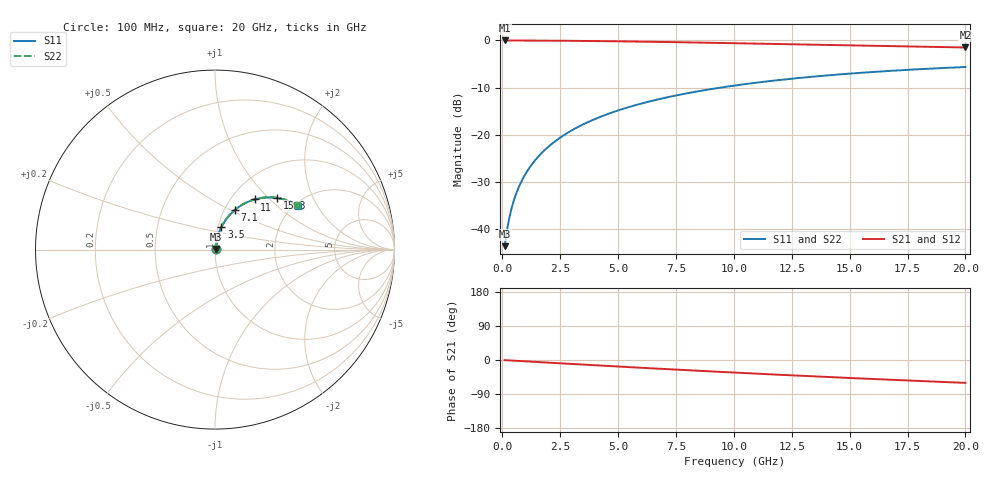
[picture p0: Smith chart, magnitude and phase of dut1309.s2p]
! Touchstone file exported from HFSS 2026.1.0
!  File:  C:/ffzhzh/LocalFiles/Ansys_Project_Files/temp_train_BSMRDL_1309_1783178328_55132.aedt
!  Generated:  11:20:13 PM Jul  4, 2026
!  Design:  BSMRDL
!  Project:  temp_train_BSMRDL_1309_1783178328_55132
! Variables:
!  h_bsmrdl = 3.71um
!  h_ox = 20um
!  h_rdl = 5um
!  h_sub = 80um
!  h_tmrdl = 5um
!  h_tsv = 80um
!  h_via = 3um
!  l_bsmrdl = 944.3um
!  l_sub = 1344.3um
!  l_tmrdl = 200um
!  m_sub = 200um
!  pitch = 44.56um
!  r_tsv = 6um
!  s_tmrdl = 10um
!  w_bsmrdl = 17.45um
!  w_sub = 500um
!  w_tmrdl = 12um
!  x_tsv_center1 = 206um
!  x_tsv_center2 = 1167.75um
!  x_tsv_center3 = 1379.75um
!  x_tsv_center4 = 2341.5um
!  x_tsv_center5 = 2553.5um
!  x_tsv_center6 = 3515.25um
# GHz S MA R 50.000000
! Terminal data exported
! Port[1] = BSM_RDL1_1_T1
! Port[2] = BSM_RDL1_1_T2
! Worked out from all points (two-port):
!   200 points, 100 MHz to 20 GHz, reference 50 ohm
!   highest |S21| = -0.05 dB at 100 MHz (marker M1); lowest = -1.5 dB at 20 GHz (marker M2)
!   |S21| within 3 dB of the highest: start of sweep to end of sweep
!   lowest |S11| = -43.6 dB at 100 MHz (marker M3), VSWR 1.01, Z = 50.5 + j0.406 ohm
!   |S11| at or under -10 dB: start of sweep to 9.449 GHz
!   |S22| runs from -43.6 to -5.7 dB; largest |S21 - S12| = 3.2e-15
!   S11 on the Smith chart (normalised r, x): 100 MHz: 1.01, +0.01; 3.5 GHz: 1.04, +0.26; 7.1 GHz: 1.12, +0.53; 11 GHz: 1.28, +0.82; 15.3 GHz: 1.56, +1.12; 20 GHz: 2.08, +1.39
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0.1  0.006639 37.3  0.9947 -0.4  0.9947 -0.4  0.006638 37.3
! Gamma 0 0 0 0
! Port Impedance 50 0 50 0
0.2  0.009687 55.1  0.9945 -0.7  0.9945 -0.7  0.009687 55.1
0.3  0.01315 63.5  0.9943 -1.1  0.9943 -1.1  0.01315 63.5
0.4  0.0167 68.1  0.994 -1.4  0.994 -1.4  0.0167 68.1
0.5  0.02029 71.0  0.9938 -1.8  0.9938 -1.8  0.02029 71.1
0.6  0.02389 73.0  0.9936 -2.1  0.9936 -2.1  0.02389 73.1
0.8  0.03115 75.5  0.9932 -2.8  0.9932 -2.8  0.03115 75.5
1.1  0.04212 77.3  0.9926 -3.9  0.9926 -3.9  0.04211 77.3
1.6  0.06047 77.9  0.9914 -5.6  0.9914 -5.6  0.06047 78.0
2.1  0.07878 77.5  0.9899 -7.4  0.9899 -7.4  0.07878 77.5
2.7  0.1006 76.3  0.9875 -9.4  0.9875 -9.4  0.1006 76.3
3.5  0.1292 74.2  0.9835 -12.2  0.9835 -12.2  0.1292 74.3
5  0.1809 69.7  0.9741 -17.2  0.9741 -17.2  0.1809 69.8
6.8  0.2391 64.2  0.96 -23.1  0.96 -23.1  0.2391 64.3
7.1  0.2484 63.3  0.9574 -24.1  0.9574 -24.1  0.2484 63.4
8.5  0.2898 59.0  0.9448 -28.5  0.9448 -28.5  0.2898 59.1
10.1  0.3336 54.2  0.9295 -33.4  0.9295 -33.4  0.3335 54.4
11  0.3565 51.6  0.9207 -36.1  0.9207 -36.1  0.3564 51.8
13.4  0.4115 44.9  0.8969 -43.0  0.8969 -43.0  0.4115 45.1
15.3  0.4491 39.8  0.8786 -48.3  0.8786 -48.3  0.4491 40.0
16.7  0.4736 36.2  0.8658 -52.0  0.8658 -52.0  0.4735 36.4
20  0.521 28.0  0.8385 -60.3  0.8385 -60.3  0.521 28.3
